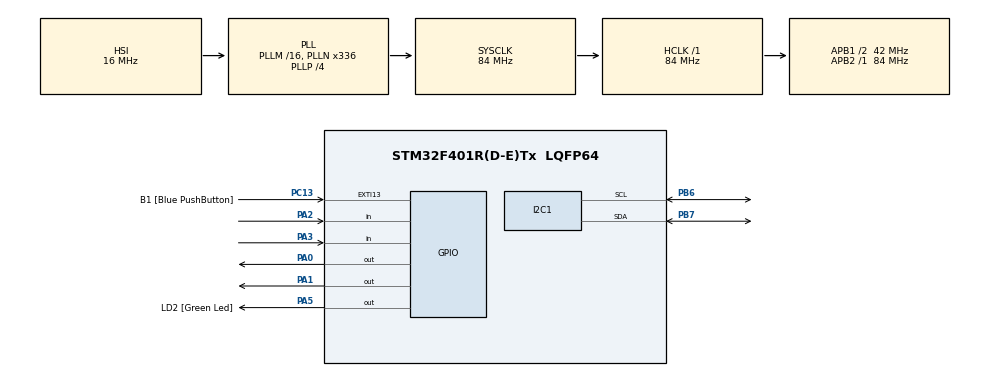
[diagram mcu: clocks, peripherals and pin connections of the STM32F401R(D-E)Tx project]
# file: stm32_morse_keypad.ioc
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Mcu.Family=STM32F4
Mcu.Name=STM32F401R(D-E)Tx
Mcu.Package=LQFP64
NVIC.PriorityGroup=NVIC_PRIORITYGROUP_4
PA0-WKUP.Signal=GPIO_Output
PA1.Signal=GPIO_Output
PA13.GPIO_Label=TMS
PA13.Mode=Trace_Asynchronous_SW
PA13.Signal=SYS_JTMS-SWDIO
PA14.GPIO_Label=TCK
PA14.Mode=Trace_Asynchronous_SW
PA14.Signal=SYS_JTCK-SWCLK
PA2.GPIO_PuPd=GPIO_PULLDOWN
PA2.Signal=GPIO_Input
PA3.GPIO_PuPd=GPIO_PULLDOWN
PA3.Signal=GPIO_Input
PA5.GPIO_Label=LD2 [Green Led]
PA5.GPIO_Mode=GPIO_MODE_OUTPUT_PP
PA5.GPIO_PuPd=GPIO_NOPULL
PA5.GPIO_Speed=GPIO_SPEED_FREQ_LOW
PA5.Signal=GPIO_Output
PB3.GPIO_Label=SWO
PB3.Mode=Trace_Asynchronous_SW
PB3.Signal=SYS_JTDO-SWO
PB6.Mode=I2C
PB6.Signal=I2C1_SCL
PB7.Mode=I2C
PB7.Signal=I2C1_SDA
PC13-ANTI_TAMP.GPIO_Label=B1 [Blue PushButton]
PC13-ANTI_TAMP.GPIO_ModeDefaultEXTI=GPIO_MODE_IT_FALLING
PC13-ANTI_TAMP.GPIO_PuPd=GPIO_NOPULL
PC13-ANTI_TAMP.Signal=GPXTI13
PC14-OSC32_IN.Mode=LSE-External-Oscillator
PC14-OSC32_IN.Signal=RCC_OSC32_IN
PC15-OSC32_OUT.Mode=LSE-External-Oscillator
PC15-OSC32_OUT.Signal=RCC_OSC32_OUT
PH0\ -\ OSC_IN.Mode=HSE-External-Clock-Source
PH0\ -\ OSC_IN.Signal=RCC_OSC_IN
PH1\ -\ OSC_OUT.Mode=HSE-External-Clock-Source
PH1\ -\ OSC_OUT.Signal=RCC_OSC_OUT
ProjectManager.HeapSize=0x200
ProjectManager.StackSize=0x400
ProjectManager.TargetToolchain=STM32CubeIDE
RCC.48MHZClocksFreq_Value=48000000
RCC.AHBFreq_Value=84000000
RCC.APB1CLKDivider=RCC_HCLK_DIV2
RCC.APB1Freq_Value=42000000
RCC.APB1TimFreq_Value=84000000
RCC.APB2Freq_Value=84000000
RCC.APB2TimFreq_Value=84000000
RCC.CortexFreq_Value=84000000
RCC.HCLKFreq_Value=84000000
RCC.HSE_VALUE=8000000
RCC.HSI_VALUE=16000000
RCC.PLLN=336
RCC.PLLP=RCC_PLLP_DIV4
RCC.PLLQ=7
RCC.SYSCLKFreq_VALUE=84000000
RCC.SYSCLKSource=RCC_SYSCLKSOURCE_PLLCLK
RCC.VCOOutputFreq_Value=336000000
board=NUCLEO-F401RE

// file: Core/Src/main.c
/* USER CODE BEGIN Header */
/**
  ******************************************************************************
  * @file           : main.c
  * @brief          : Button-based Morse Code project with LED feedback,
  *                   LCD display, and EEPROM storage.
  *
  * @note           : Each button press is interpreted as a dot, dash, or word
  *                   separator. The onboard LED blinks in real-time for visual
  *                   feedback. Letters are decoded and displayed on the LCD,
  *                   and saved to EEPROM for persistent storage.
  ******************************************************************************
  */
/* USER CODE END Header */

#include "main.h"
#include "lcd_i2c.h"
#include "eeprom_24c04.h"
#include "morse.h"
#include <string.h>

I2C_HandleTypeDef hi2c1;

/* USER CODE BEGIN PV */
// Morse buffer (single letter)
char morseBuffer[8];
uint8_t morseIndex = 0;

// LCD line 2 buffer
char textLine[17];
uint8_t textIndex = 0;

// Button press tracking
uint32_t lastPressTime = 0;
uint8_t pressCount = 0;
uint8_t buttonPrev = 0;

// EEPROM address tracker
uint16_t eepromAddr = 0;

// Morse timing constants (ms)
#define DOT_TIME        200
#define DASH_TIME       (DOT_TIME*3)
#define SYMBOL_SPACE    DOT_TIME
#define LETTER_SPACE    (DOT_TIME*5)
#define WORD_SPACE      (DOT_TIME*7)

/* USER CODE END PV */

void SystemClock_Config(void);
static void MX_GPIO_Init(void);
static void MX_I2C1_Init(void);

/* USER CODE BEGIN 0 */
int main(void)
{
    /* MCU Init */
    HAL_Init();
    SystemClock_Config();
    MX_GPIO_Init();
    MX_I2C1_Init();

    /* LCD Init */
    LCD_Init();
    LCD_Clear();
    LCD_SendString("DotDash! CodeOn");
    HAL_Delay(1000);
    LCD_Clear();

    while(1)
    {
        uint8_t buttonNow = HAL_GPIO_ReadPin(B1_GPIO_Port, B1_Pin);
        uint32_t now = HAL_GetTick();

        // Detect rising edge
        if(buttonNow && !buttonPrev) {
            pressCount++;
            lastPressTime = now;
        }

        // Handle short press timeout -> dot, dash, word separator
        if((pressCount > 0) && (now - lastPressTime > 400))
        {
            if(pressCount == 1)
            {
                morseBuffer[morseIndex++] = '.';

                // LED blink dot
                HAL_GPIO_WritePin(GPIOA, GPIO_PIN_5, GPIO_PIN_SET);
                HAL_Delay(DOT_TIME);
                HAL_GPIO_WritePin(GPIOA, GPIO_PIN_5, GPIO_PIN_RESET);
                HAL_Delay(SYMBOL_SPACE);
            }
            else if(pressCount == 2)
            {
                morseBuffer[morseIndex++] = '-';

                // LED blink dash
                HAL_GPIO_WritePin(GPIOA, GPIO_PIN_5, GPIO_PIN_SET);
                HAL_Delay(DASH_TIME);
                HAL_GPIO_WritePin(GPIOA, GPIO_PIN_5, GPIO_PIN_RESET);
                HAL_Delay(SYMBOL_SPACE);
            }
            else if(pressCount == 3)
            {
                // Word separator
                if(textIndex < 16)
                {
                    textLine[textIndex++] = ' ';
                    textLine[textIndex] = '\0';
                    LCD_SetCursor(0,1);
                    LCD_SendString(textLine);
                    EEPROM_Write(eepromAddr++, ' ');
                }
            }

            // Update Morse buffer on LCD line 1
            morseBuffer[morseIndex] = '\0';
            LCD_SetCursor(0,0);
            LCD_SendString(morseBuffer);

            // Reset press counter
            pressCount = 0;
            lastPressTime = now;
        }

        // Decode letter if no press for LETTER_SPACE
        if(morseIndex > 0 && (now - lastPressTime > LETTER_SPACE))
        {
            char c = decodeMorse(morseBuffer);
            if(c != '?')
            {
                if(textIndex < 16)
                {
                    textLine[textIndex++] = c;
                    textLine[textIndex] = '\0';
                }

                // Update LCD line 2
                LCD_SetCursor(0,1);
                LCD_SendString(textLine);

                // Save to EEPROM
                EEPROM_Write(eepromAddr++, c);
            }

            // Clear Morse buffer
            morseIndex = 0;
            morseBuffer[0] = '\0';
            LCD_SetCursor(0,0);
            LCD_SendString("                ");
        }

        buttonPrev = buttonNow;
    }
}
/* USER CODE END 0 */

/* CubeMX-generated functions -------------------------------------------------*/

void SystemClock_Config(void)
{
    RCC_OscInitTypeDef RCC_OscInitStruct = {0};
    RCC_ClkInitTypeDef RCC_ClkInitStruct = {0};

    __HAL_RCC_PWR_CLK_ENABLE();
    __HAL_PWR_VOLTAGESCALING_CONFIG(PWR_REGULATOR_VOLTAGE_SCALE2);

    RCC_OscInitStruct.OscillatorType = RCC_OSCILLATORTYPE_HSI;
    RCC_OscInitStruct.HSIState = RCC_HSI_ON;
    RCC_OscInitStruct.HSICalibrationValue = RCC_HSICALIBRATION_DEFAULT;
    RCC_OscInitStruct.PLL.PLLState = RCC_PLL_ON;
    RCC_OscInitStruct.PLL.PLLSource = RCC_PLLSOURCE_HSI;
    RCC_OscInitStruct.PLL.PLLM = 16;
    RCC_OscInitStruct.PLL.PLLN = 336;
    RCC_OscInitStruct.PLL.PLLP = RCC_PLLP_DIV4;
    RCC_OscInitStruct.PLL.PLLQ = 7;
    if(HAL_RCC_OscConfig(&RCC_OscInitStruct) != HAL_OK) Error_Handler();

    RCC_ClkInitStruct.ClockType = RCC_CLOCKTYPE_HCLK|RCC_CLOCKTYPE_SYSCLK|
                                  RCC_CLOCKTYPE_PCLK1|RCC_CLOCKTYPE_PCLK2;
    RCC_ClkInitStruct.SYSCLKSource = RCC_SYSCLKSOURCE_PLLCLK;
    RCC_ClkInitStruct.AHBCLKDivider = RCC_SYSCLK_DIV1;
    RCC_ClkInitStruct.APB1CLKDivider = RCC_HCLK_DIV2;
    RCC_ClkInitStruct.APB2CLKDivider = RCC_HCLK_DIV1;
    if(HAL_RCC_ClockConfig(&RCC_ClkInitStruct, FLASH_LATENCY_2) != HAL_OK) Error_Handler();
}

static void MX_I2C1_Init(void)
{
    hi2c1.Instance = I2C1;
    hi2c1.Init.ClockSpeed = 100000;
    hi2c1.Init.DutyCycle = I2C_DUTYCYCLE_2;
    hi2c1.Init.OwnAddress1 = 0;
    hi2c1.Init.AddressingMode = I2C_ADDRESSINGMODE_7BIT;
    hi2c1.Init.DualAddressMode = I2C_DUALADDRESS_DISABLE;
    hi2c1.Init.OwnAddress2 = 0;
    hi2c1.Init.GeneralCallMode = I2C_GENERALCALL_DISABLE;
    hi2c1.Init.NoStretchMode = I2C_NOSTRETCH_DISABLE;
    if(HAL_I2C_Init(&hi2c1) != HAL_OK) Error_Handler();
}

static void MX_GPIO_Init(void)
{
    GPIO_InitTypeDef GPIO_InitStruct = {0};

    __HAL_RCC_GPIOC_CLK_ENABLE();
    __HAL_RCC_GPIOA_CLK_ENABLE();
    __HAL_RCC_GPIOB_CLK_ENABLE();

    // User button B1
    GPIO_InitStruct.Pin = B1_Pin;
    GPIO_InitStruct.Mode = GPIO_MODE_INPUT;
    GPIO_InitStruct.Pull = GPIO_NOPULL;
    HAL_GPIO_Init(B1_GPIO_Port, &GPIO_InitStruct);

    // Onboard LED LD2 (PA5)
    GPIO_InitStruct.Pin = LD2_Pin;
    GPIO_InitStruct.Mode = GPIO_MODE_OUTPUT_PP;
    GPIO_InitStruct.Pull = GPIO_NOPULL;
    GPIO_InitStruct.Speed = GPIO_SPEED_FREQ_LOW;
    HAL_GPIO_Init(LD2_GPIO_Port, &GPIO_InitStruct);
}

void Error_Handler(void)
{
    __disable_irq();
    while(1) { }
}
